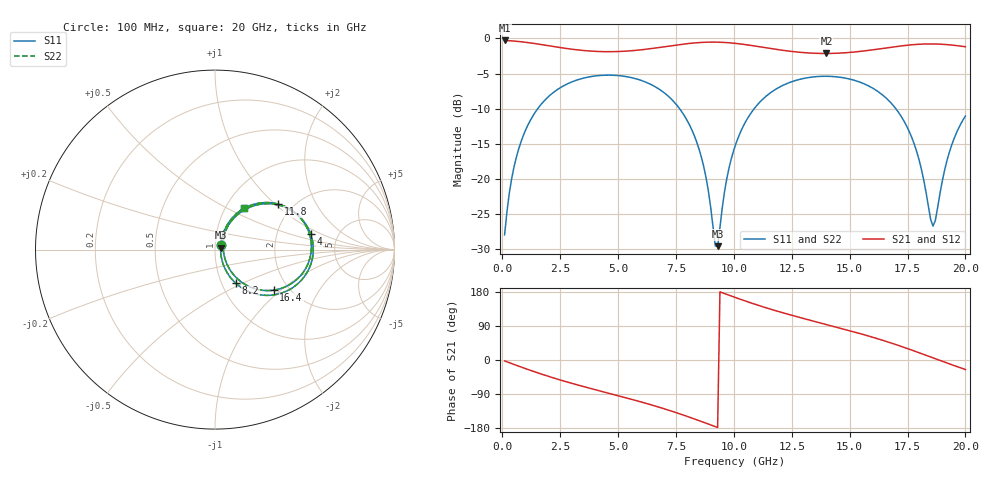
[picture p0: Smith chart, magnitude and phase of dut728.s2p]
! Touchstone file exported from HFSS 2026.1.0
!  File:  C:/ffzhzh/LocalFiles/Ansys_Project_Files/temp_train_TSV_RDL_728_1783202458_22436.aedt
!  Generated:  06:15:37 AM Jul  5, 2026
!  Design:  TSV_RDL
!  Project:  temp_train_TSV_RDL_728_1783202458_22436
! Variables:
!  h_bsmrdl = 5.65um
!  h_ox = 20um
!  h_rdl = 5um
!  h_sub = 86.62um
!  h_tmrdl = 3.66um
!  h_tsv = 86.62um
!  h_via = 3um
!  l_bsmrdl = 624.96um
!  l_sub = 6201.04um
!  l_tmrdl = 959.76um
!  m_sub = 200um
!  pitch = 46.12um
!  r_tsv = 13.68um
!  s_tmrdl = 10um
!  w_bsmrdl = 10.31um
!  w_sub = 500um
!  w_tmrdl = 18.73um
!  x_tsv_center1 = 969.125um
!  x_tsv_center2 = 1604.395um
!  x_tsv_center3 = 2582.885um
!  x_tsv_center4 = 3218.155um
!  x_tsv_center5 = 4196.645um
!  x_tsv_center6 = 4831.915um
# GHz S MA R 50.000000
! Terminal data exported
! Port[1] = TM_RDL1_1_T1
! Port[2] = TM_RDL5_1_T1
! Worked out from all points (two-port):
!   200 points, 100 MHz to 20 GHz, reference 50 ohm
!   highest |S21| = -0.28 dB at 100 MHz (marker M1); lowest = -2.1 dB at 14 GHz (marker M2)
!   |S21| within 3 dB of the highest: start of sweep to end of sweep
!   lowest |S11| = -29.7 dB at 9.3 GHz (marker M3), VSWR 1.07, Z = 53.2 + j1.12 ohm
!   |S11| at or under -10 dB: start of sweep to 1.537 GHz; 7.651 GHz to 10.88 GHz (3.234 GHz wide, 34.9 % of centre); 16.99 GHz to end of sweep
!   |S22| runs from -29.7 to -5.2 dB; largest |S21 - S12| = 1.5e-14
!   S11 on the Smith chart (normalised r, x): 100 MHz: 1.07, +0.05; 4 GHz: 3.14, +0.76; 8.2 GHz: 1.16, -0.46; 11.8 GHz: 1.67, +1.05; 16.4 GHz: 1.67, -0.90; 20 GHz: 1.21, +0.60
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0.1  0.03962 35.2  0.9683 -2.4  0.9683 -2.4  0.03962 35.2
! Gamma 0 0 0 0
! Port Impedance 50 0 50 0
0.5  0.1198 61.6  0.9588 -11.6  0.9588 -11.6  0.1198 61.6
1.1  0.2396 56.6  0.9355 -24.9  0.9355 -24.9  0.2396 56.6
2.1  0.3985 39.9  0.8826 -45.2  0.8826 -45.2  0.3985 39.9
3.5  0.5209 16.9  0.8211 -70.0  0.8211 -70.0  0.5209 16.9
4  0.5399 9.2  0.8098 -78.2  0.8098 -78.2  0.5399 9.2
6.8  0.4319 -34.9  0.8637 -125.1  0.8637 -125.1  0.4319 -34.9
8.2  0.2201 -58.3  0.9265 -153.5  0.9265 -153.5  0.2201 -58.4
8.7  0.1216 -62.3  0.9394 -164.5  0.9394 -164.5  0.1216 -62.4
9.2  0.03298 -17.4  0.9424 -175.8  0.9424 -175.8  0.0327 -17.6
9.3  0.03288 18.6  0.9417 -178.0  0.9417 -178.0  0.03258 18.8
9.7  0.1006 63.1  0.9348 173.0  0.9348 173.0  0.1005 63.3
10.1  0.1794 62.6  0.9219 164.1  0.9219 164.1  0.1793 62.7
11.8  0.4332 35.9  0.8377 130.2  0.8377 130.2  0.4332 35.9
13.4  0.5309 11.1  0.7857 103.2  0.7857 103.2  0.5309 11.1
14  0.5374 2.2  0.7818 93.6  0.7818 93.6  0.5373 2.3
16.4  0.3979 -34.6  0.8479 52.5  0.8479 52.5  0.3978 -34.6
16.7  0.3589 -39.4  0.8618 46.7  0.8618 46.7  0.3588 -39.4
17.8  0.1743 -53.5  0.9051 23.6  0.9051 23.6  0.1743 -53.4
18.6  0.04577 2.6  0.9145 5.7  0.9145 5.7  0.04605 2.7
19.3  0.1527 61.6  0.9016 -10.0  0.9016 -10.0  0.1529 61.5
20  0.2795 55.3  0.8731 -25.0  0.8731 -25.0  0.2796 55.3
